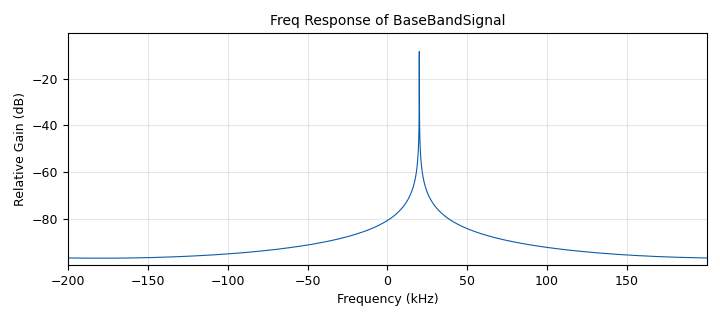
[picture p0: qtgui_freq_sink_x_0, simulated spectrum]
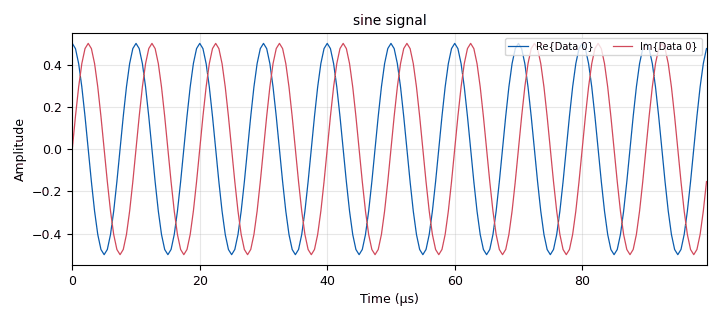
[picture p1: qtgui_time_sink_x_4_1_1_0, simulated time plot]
options:
  parameters:
    generate_options: qt_gui
    id: baseband_to_RF
    output_language: python
    title: Not titled yet
  states: {}

blocks:
- name: Khz
  id: variable
  parameters:
    value: '1000'
  states: {}
- name: Mhz
  id: variable
  parameters:
    value: 1000*1000
  states: {}
- name: RF_BW
  id: variable
  parameters:
    value: 2*Mhz
  states: {}
- name: fm
  id: variable
  parameters:
    value: 100*Khz
  states: {}
- name: samp_rate
  id: variable
  parameters:
    value: 2*Mhz
  states: {}
- name: analog_sig_source_x_0
  id: analog_sig_source_x
  parameters:
    amp: '0.5'
    freq: fm
    offset: '0'
    phase: '0'
    samp_rate: samp_rate
    type: complex
    waveform: analog.GR_COS_WAVE
  states: {}
- name: iio_pluto_sink_0
  id: iio_pluto_sink
  parameters:
    attenuation1: '1.0'
    bandwidth: RF_BW
    buffer_size: '32768'
    cyclic: 'False'
    filter_source: '''Auto'''
    frequency: 500*Mhz
    samplerate: samp_rate
    type: fc32
  states: {}
- name: iio_pluto_source_0
  id: iio_pluto_source
  parameters:
    bandwidth: RF_BW
    bbdc: 'True'
    buffer_size: '32768'
    filter_source: '''Auto'''
    frequency: 500*Mhz
    gain1: '''manual'''
    manual_gain1: '60'
    quadrature: 'True'
    rfdc: 'True'
    samplerate: samp_rate
    type: fc32
  states: {}
- name: import_0
  id: import
  parameters:
    imports: import numpy
  states: {}
- name: qtgui_freq_sink_x_0
  id: qtgui_freq_sink_x
  parameters:
    autoscale: 'True'
    average: '0.05'
    bw: fm*4
    fc: '0'
    fftsize: 1024*2*8*2
    grid: 'True'
    name: '"Freq Response of BaseBandSignal"'
    norm_window: 'True'
    type: complex
    update_time: '2'
    wintype: window.WIN_RECTANGULAR
    ymax: '-1.5'
    ymin: '-2.5'
  states: {}
- name: qtgui_time_sink_x_1_0_0
  id: qtgui_time_sink_x
  parameters:
    autoscale: 'True'
    grid: 'True'
    name: '"RXmodulated Signal"'
    size: '1000'
    srate: samp_rate
    type: complex
    update_time: '500'
    ymax: '2'
    ymin: '-2'
  states: {}
- name: qtgui_time_sink_x_4_1_1_0
  id: qtgui_time_sink_x
  parameters:
    autoscale: 'True'
    grid: 'True'
    name: '"sine signal"'
    size: 10*(int((1/fm)*samp_rate))
    srate: samp_rate
    type: complex
    update_time: '500'
  states: {}

connections:
- [analog_sig_source_x_0, '0', iio_pluto_sink_0, '0']
- [analog_sig_source_x_0, '0', qtgui_freq_sink_x_0, '0']
- [analog_sig_source_x_0, '0', qtgui_time_sink_x_4_1_1_0, '0']
- [iio_pluto_source_0, '0', qtgui_time_sink_x_1_0_0, '0']

metadata:
  file_format: 1
  grc_version: 3.10.11.0
